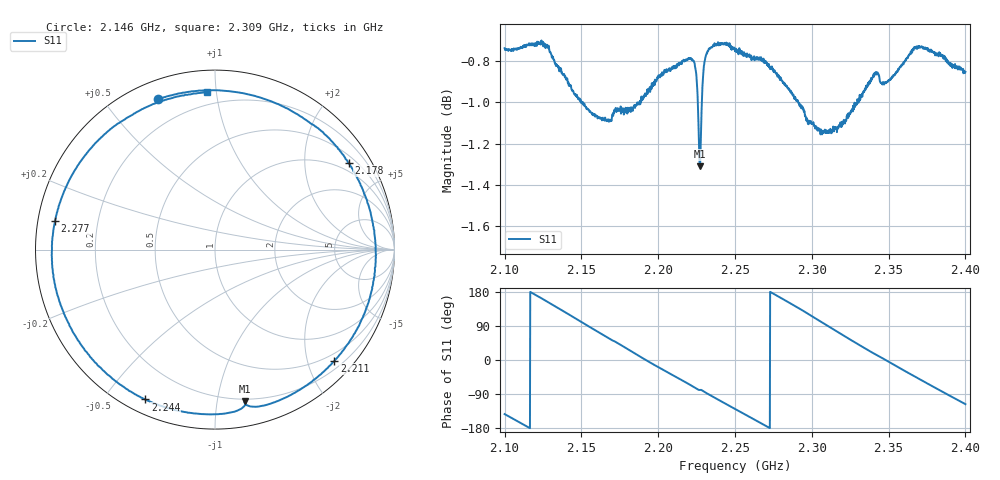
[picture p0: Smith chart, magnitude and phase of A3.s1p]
!Agilent N9918A: A.07.57
!Date: Thursday, 18 December 2014 18:31:04
!TimeZone: (GMT+08:00) Kuala Lumpur, Singapore!Model: N9918A
!Serial: MY53103598
!GPS Latitude:
!GPS Longitude:
!GPS TimeStamp: 0001-01-01 00:00:00Z
!GPS Seconds Since Last Read: 0
!CHECKSUM:1724242396
!Correction: S11(Rdy)
!S1P File: Measurement: S11:
# Hz S DB R 50
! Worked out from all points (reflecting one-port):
!   1601 points, 2.1 GHz to 2.4 GHz, reference 50 ohm
!   lowest |S11| = -1.3 dB at 2.227 GHz (marker M1), VSWR 13.28, Z = 9.26 - j60 ohm
!   phase of S11 starts at -143 deg and turns -694 deg over the sweep
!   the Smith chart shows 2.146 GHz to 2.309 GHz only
!   S11 on the Smith chart (normalised r, x): 2.146 GHz: 0.08, +0.69; 2.178 GHz: 0.71, +3.23; 2.211 GHz: 0.35, -2.49; 2.244 GHz: 0.06, -0.64; 2.277 GHz: 0.05, +0.09; 2.309 GHz: 0.12, +0.94
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2.1e9  -0.74 -142.8
2.110312e9  -0.73 -165.9
2.119125e9  -0.72 174.1
2.12775e9  -0.73 154.1
2.1375e9  -0.86 130.7
2.14575e9  -0.96 110.7
2.159438e9  -1.06 77.4
2.175e9  -1.03 41.2
2.178375e9  -1.04 33.0
2.194312e9  -0.93 -5.6
2.210812e9  -0.82 -43.0
2.2125e9  -0.82 -46.8
2.221875e9  -0.79 -68.1
2.227125e9  -1.31 -78.8
2.23425e9  -0.73 -93.9
2.243625e9  -0.72 -114.9
2.25e9  -0.75 -129.1
2.264438e9  -0.78 -161.3
2.277188e9  -0.86 170.0
2.2875e9  -0.96 146.1
2.2995e9  -1.10 117.0
2.309062e9  -1.14 93.1
2.325e9  -1.06 54.0
2.342625e9  -0.85 12.1
2.35275e9  -0.88 -10.8
2.3625e9  -0.78 -33.3
2.381438e9  -0.77 -75.8
2.4e9  -0.85 -116.5
